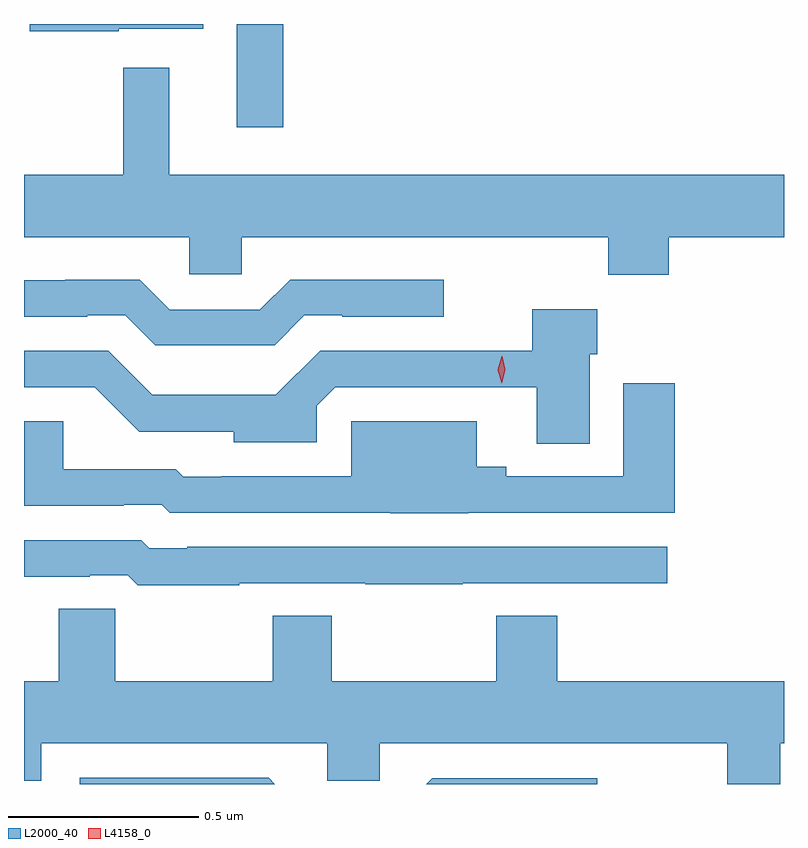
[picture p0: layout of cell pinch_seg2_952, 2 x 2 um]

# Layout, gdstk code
import gdstk
lib = gdstk.Library(unit=1e-6, precision=1e-09)
def R(c, l, rs):  # rectangles x0, y0, x1, y1
    for r in rs: c.add(gdstk.rectangle(r[:2], r[2:], *l))
def P(c, l, *ps):  # polygons
    for p in ps: c.add(gdstk.Polygon(p, *l))
L2000_40 = (2000, 40)
L4158_0 = (4158, 0)

pinch_seg2_952 = lib.new_cell('pinch_seg2_952')
R(pinch_seg2_952, L2000_40, [(372.803,657.249,372.925,657.521)])
P(pinch_seg2_952, L2000_40, [(372.492,657.509),(372.715,657.509),(372.715,657.521),(372.258,657.521),(372.258,657.502),(372.492,657.502)],
  [(373.94,656.96),(374.243,656.96),(374.243,657.124),(372.625,657.124),(372.625,657.406),(372.504,657.406),(372.504,657.124),(372.243,657.124),(372.243,656.96),(372.678,656.96),(372.678,656.862),(372.816,656.862),(372.816,656.96),(373.78,656.96),(373.78,656.861),(373.94,656.861)],
  [(372.981,656.754),(373.081,656.754),(373.081,656.751),(373.348,656.751),(373.348,656.848),(372.943,656.848),(372.864,656.769),(372.627,656.769),(372.548,656.848),(372.352,656.848),(372.352,656.847),(372.243,656.847),(372.243,656.751),(372.41,656.751),(372.41,656.754),(372.51,656.754),(372.588,656.676),(372.903,656.676)],
  [(373.732,656.652),(373.751,656.652),(373.751,656.77),(373.58,656.77),(373.58,656.661),(373.022,656.661),(372.906,656.545),(372.581,656.545),(372.465,656.661),(372.243,656.661),(372.243,656.565),(372.429,656.565),(372.546,656.448),(372.795,656.448),(372.795,656.42),(373.014,656.42),(373.014,656.517),(373.062,656.565),(373.592,656.565),(373.592,656.416),(373.732,656.416)],
  [(373.412,656.235),(373.955,656.235),(373.955,656.575),(373.82,656.575),(373.82,656.331),(373.512,656.331),(373.512,656.356),(373.435,656.356),(373.435,656.476),(373.104,656.476),(373.104,656.331),(372.763,656.331),(372.763,656.329),(372.662,656.329),(372.642,656.349),(372.346,656.349),(372.346,656.476),(372.243,656.476),(372.243,656.253),(372.506,656.253),(372.506,656.256),(372.606,656.256),(372.627,656.235),(373.207,656.235),(373.207,656.234),(373.412,656.234)],
  [(372.809,656.049),(373.141,656.049),(373.141,656.047),(373.397,656.047),(373.397,656.049),(373.936,656.049),(373.936,656.145),(372.673,656.145),(372.673,656.142),(372.573,656.142),(372.552,656.163),(372.243,656.163),(372.243,656.067),(372.416,656.067),(372.416,656.07),(372.516,656.07),(372.542,656.044),(372.809,656.044)],
  [(374.233,655.628),(374.243,655.628),(374.243,655.792),(373.646,655.792),(373.646,655.964),(373.486,655.964),(373.486,655.792),(373.053,655.792),(373.053,655.964),(372.898,655.964),(372.898,655.792),(372.483,655.792),(372.483,655.982),(372.335,655.982),(372.335,655.792),(372.243,655.792),(372.243,655.529),(372.289,655.529),(372.289,655.628),(373.041,655.628),(373.041,655.53),(373.179,655.53),(373.179,655.628),(374.093,655.628),(374.093,655.521),(374.233,655.521)],
  [(372.887,655.537),(372.39,655.537),(372.39,655.521),(372.903,655.521)],
  [(373.752,655.536),(373.317,655.536),(373.302,655.521),(373.752,655.521)])
P(pinch_seg2_952, L4158_0, [(373.5,656.575),(373.5,656.575),(373.49,656.611),(373.5,656.647),(373.501,656.647),(373.501,656.647),(373.51,656.611),(373.5,656.575)])

lib.write_gds('pinch_seg2_952.gds')
